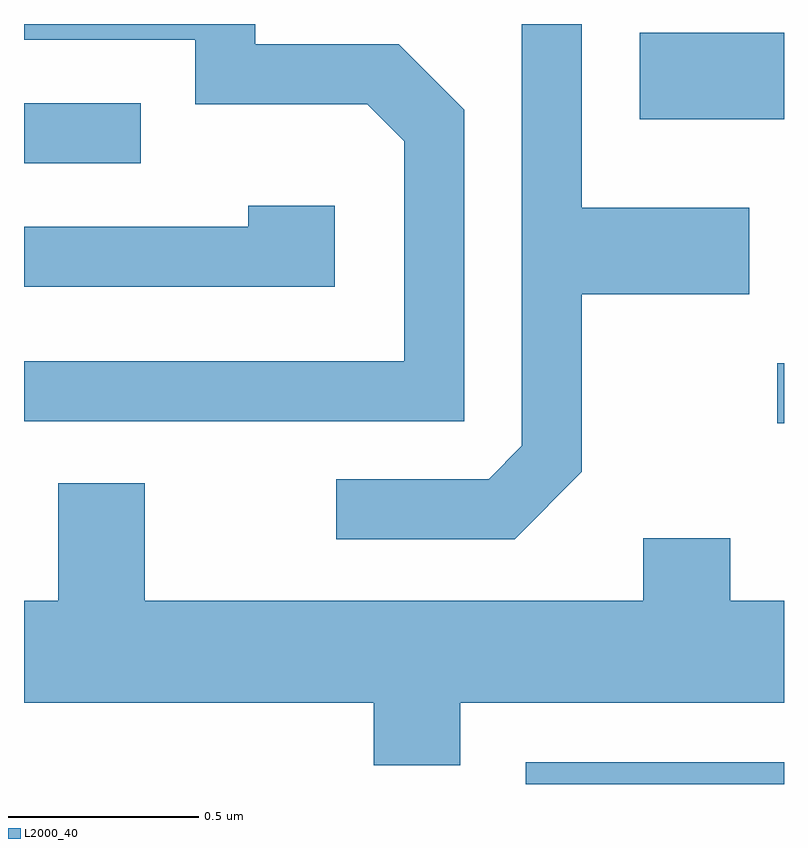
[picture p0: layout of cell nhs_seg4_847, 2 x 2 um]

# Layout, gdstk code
import gdstk
lib = gdstk.Library(unit=1e-6, precision=1e-09)
def R(c, l, rs):  # rectangles x0, y0, x1, y1
    for r in rs: c.add(gdstk.rectangle(r[:2], r[2:], *l))
def P(c, l, *ps):  # polygons
    for p in ps: c.add(gdstk.Polygon(p, *l))
L2000_40 = (2000, 40)

nhs_seg4_847 = lib.new_cell('nhs_seg4_847')
R(nhs_seg4_847, L2000_40, [(192.931,1278.982,193.611,1279.039), (193.593,1279.931,193.611,1280.089), (191.611,1280.616,191.918,1280.774), (193.231,1280.731,193.611,1280.959)])
P(nhs_seg4_847, L2000_40, [(193.079,1279.804),(193.079,1280.271),(193.519,1280.271),(193.519,1280.499),(193.079,1280.499),(193.079,1280.982),(192.921,1280.982),(192.921,1279.872),(192.834,1279.784),(192.433,1279.784),(192.433,1279.626),(192.902,1279.626)],
  [(192.769,1280.757),(192.597,1280.929),(192.219,1280.929),(192.219,1280.982),(191.611,1280.982),(191.611,1280.941),(192.061,1280.941),(192.061,1280.771),(192.514,1280.771),(192.611,1280.674),(192.611,1280.094),(191.611,1280.094),(191.611,1279.936),(192.769,1279.936)],
  [(192.429,1280.504),(192.201,1280.504),(192.201,1280.449),(191.611,1280.449),(191.611,1280.291),(192.429,1280.291)],
  [(192.759,1279.196),(193.611,1279.196),(193.611,1279.464),(193.469,1279.464),(193.469,1279.629),(193.241,1279.629),(193.241,1279.464),(191.929,1279.464),(191.929,1279.774),(191.701,1279.774),(191.701,1279.464),(191.611,1279.464),(191.611,1279.196),(192.531,1279.196),(192.531,1279.031),(192.759,1279.031)])

lib.write_gds('nhs_seg4_847.gds')
